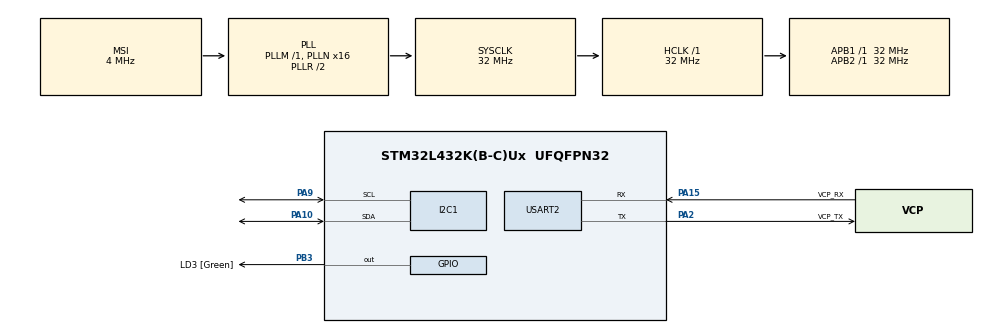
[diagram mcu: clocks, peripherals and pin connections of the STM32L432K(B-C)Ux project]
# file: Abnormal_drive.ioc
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I2C1.Timing=0x00B07CB4
Mcu.Family=STM32L4
Mcu.Name=STM32L432K(B-C)Ux
Mcu.Package=UFQFPN32
NVIC.PriorityGroup=NVIC_PRIORITYGROUP_4
PA0.GPIO_Label=MCO [High speed clock in]
PA0.Mode=HSE-External-Clock-Source-for-LittleOrca
PA0.Signal=RCC_CK_IN
PA10.Mode=I2C
PA10.Signal=I2C1_SDA
PA13\ (JTMS-SWDIO).GPIO_Label=SWDIO
PA13\ (JTMS-SWDIO).Mode=Serial_Wire
PA13\ (JTMS-SWDIO).Signal=SYS_JTMS-SWDIO
PA14\ (JTCK-SWCLK).GPIO_Label=SWCLK
PA14\ (JTCK-SWCLK).Mode=Serial_Wire
PA14\ (JTCK-SWCLK).Signal=SYS_JTCK-SWCLK
PA15\ (JTDI).GPIO_Label=VCP_RX
PA15\ (JTDI).Mode=Asynchronous
PA15\ (JTDI).Signal=USART2_RX
PA2.GPIO_Label=VCP_TX
PA2.Mode=Asynchronous
PA2.Signal=USART2_TX
PA9.Mode=I2C
PA9.Signal=I2C1_SCL
PB3\ (JTDO-TRACESWO).GPIO_Label=LD3 [Green]
PB3\ (JTDO-TRACESWO).Signal=GPIO_Output
PC14-OSC32_IN\ (PC14).Mode=LSE-External-Oscillator
PC14-OSC32_IN\ (PC14).Signal=RCC_OSC32_IN
PC15-OSC32_OUT\ (PC15).Mode=LSE-External-Oscillator
PC15-OSC32_OUT\ (PC15).Signal=RCC_OSC32_OUT
ProjectManager.HeapSize=0x200
ProjectManager.StackSize=0x400
ProjectManager.TargetToolchain=STM32CubeIDE
RCC.AHBFreq_Value=32000000
RCC.APB1Freq_Value=32000000
RCC.APB1TimFreq_Value=32000000
RCC.APB2Freq_Value=32000000
RCC.APB2TimFreq_Value=32000000
RCC.CortexFreq_Value=32000000
RCC.HCLKFreq_Value=32000000
RCC.HSE_VALUE=8000000
RCC.HSI16_VALUE=16000000
RCC.HSI48_VALUE=48000000
RCC.HSI_VALUE=16000000
RCC.MSI_VALUE=4000000
RCC.PLLMUL=RCC_PLLMUL_4
RCC.PLLN=16
RCC.SYSCLKFreq_VALUE=32000000
RCC.SYSCLKSource=RCC_SYSCLKSOURCE_PLLCLK
RCC.VCOOutputFreq_Value=64000000
USART2.VirtualMode-Asynchronous=VM_ASYNC
board=NUCLEO-L432KC

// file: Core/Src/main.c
/* USER CODE BEGIN Header */
/**
  ******************************************************************************
  * @file           : main.c
  * @brief          : Main program body
  ******************************************************************************
  * @attention
  *
  * Copyright (c) 2024 STMicroelectronics.
  * All rights reserved.
  *
  * This software is licensed under terms that can be found in the LICENSE file
  * in the root directory of this software component.
  * If no LICENSE file comes with this software, it is provided AS-IS.
  *
  ******************************************************************************
  */
/* USER CODE END Header */
#include "main.h"

/* USER CODE BEGIN Includes */
#include"stdio.h"
#include "string.h"
#include "mpu.h"
#include "NanoEdgeAI.h"
#include "knowledge.h"
/* USER CODE END Includes */

/* USER CODE BEGIN PD */
#define ALERT_PIN GPIO_PIN_5
#define ALERT_PORT GPIOA
#define DATA_INPUT_USER 256
#define AXIS_NUMBER 3
#define CONFIRMATIONS_NB   (uint32_t)(3)
/* USER CODE END PD */

I2C_HandleTypeDef hi2c1;

UART_HandleTypeDef huart2;

float mpu_buffer[DATA_INPUT_USER * AXIS_NUMBER] = {0};
float output_class_buffer[CLASS_NUMBER]; // Buffer of class probabilities
const char *id2class[CLASS_NUMBER + 1] = { // Buffer for mapping class id to class name
	"unknown",
	"normal_drive",
	"abnormal_driving",
	"subtle_stand",
};
void SystemClock_Config(void);
static void MX_GPIO_Init(void);
static void MX_USART2_UART_Init(void);
static void MX_I2C1_Init(void);
/* USER CODE BEGIN PFP */
void fill_mpu_buffer(void);
int __io_putchar(int);
void Inference(void);
/* USER CODE END PFP */

int main(void)
{

  /* MCU Configuration--------------------------------------------------------*/

  /* Reset of all peripherals, Initializes the Flash interface and the Systick. */
  HAL_Init();

  /* USER CODE BEGIN Init */
  enum neai_state error_code = neai_classification_init(knowledge);
     	if (error_code != NEAI_OK) {
     		/* This happens if the knowledge does not correspond to the library or if the library works into a not supported board. */
     	printf("Knowledge initialization ERROR");
     	printf("%d", error_code);
     	}
     	else
     	{
     		printf("Knowledge initialization done");
     	}
  /* USER CODE END Init */

  /* Configure the system clock */
  SystemClock_Config();

  /* Initialize all configured peripherals */
  MX_GPIO_Init();
  MX_USART2_UART_Init();
  MX_I2C1_Init();
  /* USER CODE BEGIN 2 */
MPU6050_Init();
HAL_Delay(1000);
  /* USER CODE END 2 */

  /* Infinite loop */
  /* USER CODE BEGIN WHILE */
  while (1)
  {
	  Inference();
    /* USER CODE END WHILE */

  }
}

void SystemClock_Config(void)
{
  RCC_OscInitTypeDef RCC_OscInitStruct = {0};
  RCC_ClkInitTypeDef RCC_ClkInitStruct = {0};

  /** Configure the main internal regulator output voltage
  */
  if (HAL_PWREx_ControlVoltageScaling(PWR_REGULATOR_VOLTAGE_SCALE1) != HAL_OK)
  {
    Error_Handler();
  }

  /** Configure LSE Drive Capability
  */
  HAL_PWR_EnableBkUpAccess();
  __HAL_RCC_LSEDRIVE_CONFIG(RCC_LSEDRIVE_LOW);

  /** Initializes the RCC Oscillators according to the specified parameters
  * in the RCC_OscInitTypeDef structure.
  */
  RCC_OscInitStruct.OscillatorType = RCC_OSCILLATORTYPE_LSE|RCC_OSCILLATORTYPE_MSI;
  RCC_OscInitStruct.LSEState = RCC_LSE_ON;
  RCC_OscInitStruct.MSIState = RCC_MSI_ON;
  RCC_OscInitStruct.MSICalibrationValue = 0;
  RCC_OscInitStruct.MSIClockRange = RCC_MSIRANGE_6;
  RCC_OscInitStruct.PLL.PLLState = RCC_PLL_ON;
  RCC_OscInitStruct.PLL.PLLSource = RCC_PLLSOURCE_MSI;
  RCC_OscInitStruct.PLL.PLLM = 1;
  RCC_OscInitStruct.PLL.PLLN = 16;
  RCC_OscInitStruct.PLL.PLLP = RCC_PLLP_DIV7;
  RCC_OscInitStruct.PLL.PLLQ = RCC_PLLQ_DIV2;
  RCC_OscInitStruct.PLL.PLLR = RCC_PLLR_DIV2;
  if (HAL_RCC_OscConfig(&RCC_OscInitStruct) != HAL_OK)
  {
    Error_Handler();
  }

  /** Initializes the CPU, AHB and APB buses clocks
  */
  RCC_ClkInitStruct.ClockType = RCC_CLOCKTYPE_HCLK|RCC_CLOCKTYPE_SYSCLK
                              |RCC_CLOCKTYPE_PCLK1|RCC_CLOCKTYPE_PCLK2;
  RCC_ClkInitStruct.SYSCLKSource = RCC_SYSCLKSOURCE_PLLCLK;
  RCC_ClkInitStruct.AHBCLKDivider = RCC_SYSCLK_DIV1;
  RCC_ClkInitStruct.APB1CLKDivider = RCC_HCLK_DIV1;
  RCC_ClkInitStruct.APB2CLKDivider = RCC_HCLK_DIV1;

  if (HAL_RCC_ClockConfig(&RCC_ClkInitStruct, FLASH_LATENCY_1) != HAL_OK)
  {
    Error_Handler();
  }

  /** Enable MSI Auto calibration
  */
  HAL_RCCEx_EnableMSIPLLMode();
}

static void MX_I2C1_Init(void)
{

  hi2c1.Instance = I2C1;
  hi2c1.Init.Timing = 0x00B07CB4;
  hi2c1.Init.OwnAddress1 = 0;
  hi2c1.Init.AddressingMode = I2C_ADDRESSINGMODE_7BIT;
  hi2c1.Init.DualAddressMode = I2C_DUALADDRESS_DISABLE;
  hi2c1.Init.OwnAddress2 = 0;
  hi2c1.Init.OwnAddress2Masks = I2C_OA2_NOMASK;
  hi2c1.Init.GeneralCallMode = I2C_GENERALCALL_DISABLE;
  hi2c1.Init.NoStretchMode = I2C_NOSTRETCH_DISABLE;
  if (HAL_I2C_Init(&hi2c1) != HAL_OK)
  {
    Error_Handler();
  }

  /** Configure Analogue filter
  */
  if (HAL_I2CEx_ConfigAnalogFilter(&hi2c1, I2C_ANALOGFILTER_ENABLE) != HAL_OK)
  {
    Error_Handler();
  }

  /** Configure Digital filter
  */
  if (HAL_I2CEx_ConfigDigitalFilter(&hi2c1, 0) != HAL_OK)
  {
    Error_Handler();
  }

}

static void MX_USART2_UART_Init(void)
{

  huart2.Instance = USART2;
  huart2.Init.BaudRate = 115200;
  huart2.Init.WordLength = UART_WORDLENGTH_8B;
  huart2.Init.StopBits = UART_STOPBITS_1;
  huart2.Init.Parity = UART_PARITY_NONE;
  huart2.Init.Mode = UART_MODE_TX_RX;
  huart2.Init.HwFlowCtl = UART_HWCONTROL_NONE;
  huart2.Init.OverSampling = UART_OVERSAMPLING_16;
  huart2.Init.OneBitSampling = UART_ONE_BIT_SAMPLE_DISABLE;
  huart2.AdvancedInit.AdvFeatureInit = UART_ADVFEATURE_NO_INIT;
  if (HAL_UART_Init(&huart2) != HAL_OK)
  {
    Error_Handler();
  }

}

static void MX_GPIO_Init(void)
{
  GPIO_InitTypeDef GPIO_InitStruct = {0};

  /* GPIO Ports Clock Enable */
  __HAL_RCC_GPIOC_CLK_ENABLE();
  __HAL_RCC_GPIOA_CLK_ENABLE();
  __HAL_RCC_GPIOB_CLK_ENABLE();

  /*Configure GPIO pin Output Level */
  HAL_GPIO_WritePin(LD3_GPIO_Port, LD3_Pin, GPIO_PIN_RESET);

  /*Configure GPIO pin : LD3_Pin */
  GPIO_InitStruct.Pin = ALERT_PIN;
  GPIO_InitStruct.Mode = GPIO_MODE_OUTPUT_PP;
  GPIO_InitStruct.Pull = GPIO_NOPULL;
  GPIO_InitStruct.Speed = GPIO_SPEED_FREQ_LOW;
  HAL_GPIO_Init(ALERT_PORT, &GPIO_InitStruct);

}

/* USER CODE BEGIN 4 */
int __io_putchar(int ch)
{
	HAL_UART_Transmit(&huart2, (uint8_t *)&ch, 1, HAL_MAX_DELAY);
	return ch;

}
void fill_mpu_buffer()
{
	for(int i=0; i<DATA_INPUT_USER; i++)
	{
		MPU6050_Read_Accel(accel_data);
		mpu_buffer[AXIS_NUMBER * i] = Ax;
		mpu_buffer[AXIS_NUMBER * i+1] = Ay;
		mpu_buffer[AXIS_NUMBER * i+2] = Az;
	}
}
void Inference(){
	uint16_t i, id_class_t0, id_class_tn;
	fill_mpu_buffer();
	neai_classification(mpu_buffer, output_class_buffer, &id_class_t0);
	for(i=0; i<CONFIRMATIONS_NB-1; i++)
	{
		fill_mpu_buffer();
		neai_classification(mpu_buffer, output_class_buffer, &id_class_tn);
		if(id_class_t0 != id_class_tn)
		{
			break;
		}
		if(id_class_t0 == id_class_tn)
		{
			printf("Detected Class:");
			printf(id2class[id_class_t0]);
			if(strcmp("abnormal_driving",id2class[id_class_t0])==0)
			{
				HAL_GPIO_WritePin(ALERT_PORT, ALERT_PIN, GPIO_PIN_SET);
			}
			else
			{
				HAL_GPIO_WritePin(ALERT_PORT, ALERT_PIN, GPIO_PIN_RESET);
			}
			printf("\r\n");

		}
		else
		{
			printf("?");
			printf("\r\n");
		}
	}
}

/* USER CODE END 4 */

void Error_Handler(void)
{
  __disable_irq();
  while (1)
  {
  }
}
